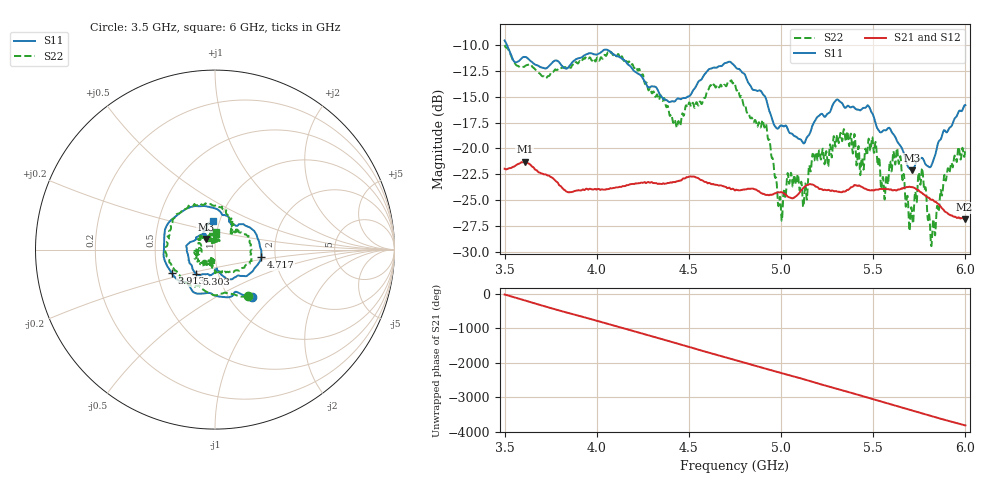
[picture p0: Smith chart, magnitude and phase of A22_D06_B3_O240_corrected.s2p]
! Created with skrf 1.9.0 (http://scikit-rf.org).
# Hz S RI R 50.0
!freq ReS11 ImS11 ReS21 ImS21 ReS12 ImS12 ReS22 ImS22
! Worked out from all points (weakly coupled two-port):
!   1601 points, 3.5 GHz to 6 GHz, reference 50 ohm
!   highest |S21| = -21.29 dB at 3.609 GHz (marker M1); lowest = -26.8 dB at 5.995 GHz (marker M2)
!   lowest |S11| = -22.1 dB at 5.709 GHz (marker M3), VSWR 1.17, Z = 44.8 + j5.38 ohm
!   |S11| at or under -10 dB: 3.513 GHz to end of sweep
!   |S22| runs from -29.4 to -10.0 dB; largest |S21 - S12| = 0.00093
!   S11 on the Smith chart (normalised r, x): 3.5 GHz: 1.27, -0.75; 3.913 GHz: 0.59, -0.17; 4.717 GHz: 1.69, -0.16; 5.303 GHz: 0.78, -0.22; 6 GHz: 0.93, +0.31
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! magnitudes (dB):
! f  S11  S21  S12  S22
! 3.5 GHz  -9.6  -22.0  -21.9  -10.0
! 3.609 GHz  -11.2  -21.3  -21.3  -12.1
! 3.913 GHz  -11.2  -24.1  -24.0  -11.6
! 3.917 GHz  -11.2  -24.0  -24.0  -11.6
! 4.334 GHz  -14.5  -23.4  -23.4  -15.2
! 4.442 GHz  -15.2  -23.2  -23.1  -17.4
! 4.717 GHz  -11.6  -23.8  -23.8  -13.6
! 4.75 GHz  -12.1  -24.1  -24.0  -13.8
! 4.911 GHz  -14.9  -24.4  -24.4  -17.9
! 4.995 GHz  -17.8  -24.2  -24.2  -24.7
! 5.045 GHz  -18.5  -24.7  -24.7  -23.4
! 5.13 GHz  -19.4  -23.7  -23.7  -23.5
! 5.167 GHz  -17.9  -23.5  -23.4  -21.0
! 5.303 GHz  -15.3  -24.2  -24.1  -18.8
! 5.584 GHz  -18.0  -23.9  -23.9  -22.5
! 5.638 GHz  -19.5  -24.0  -23.9  -21.4
! 5.709 GHz  -22.1  -23.7  -23.7  -25.9
! 5.758 GHz  -21.0  -24.2  -24.1  -23.3
! 5.823 GHz  -21.3  -25.0  -24.9  -27.2
! 5.894 GHz  -18.4  -26.1  -26.1  -23.1
! 5.995 GHz  -15.8  -26.8  -26.7  -20.7
! 6 GHz  -15.8  -26.8  -26.7  -19.9
